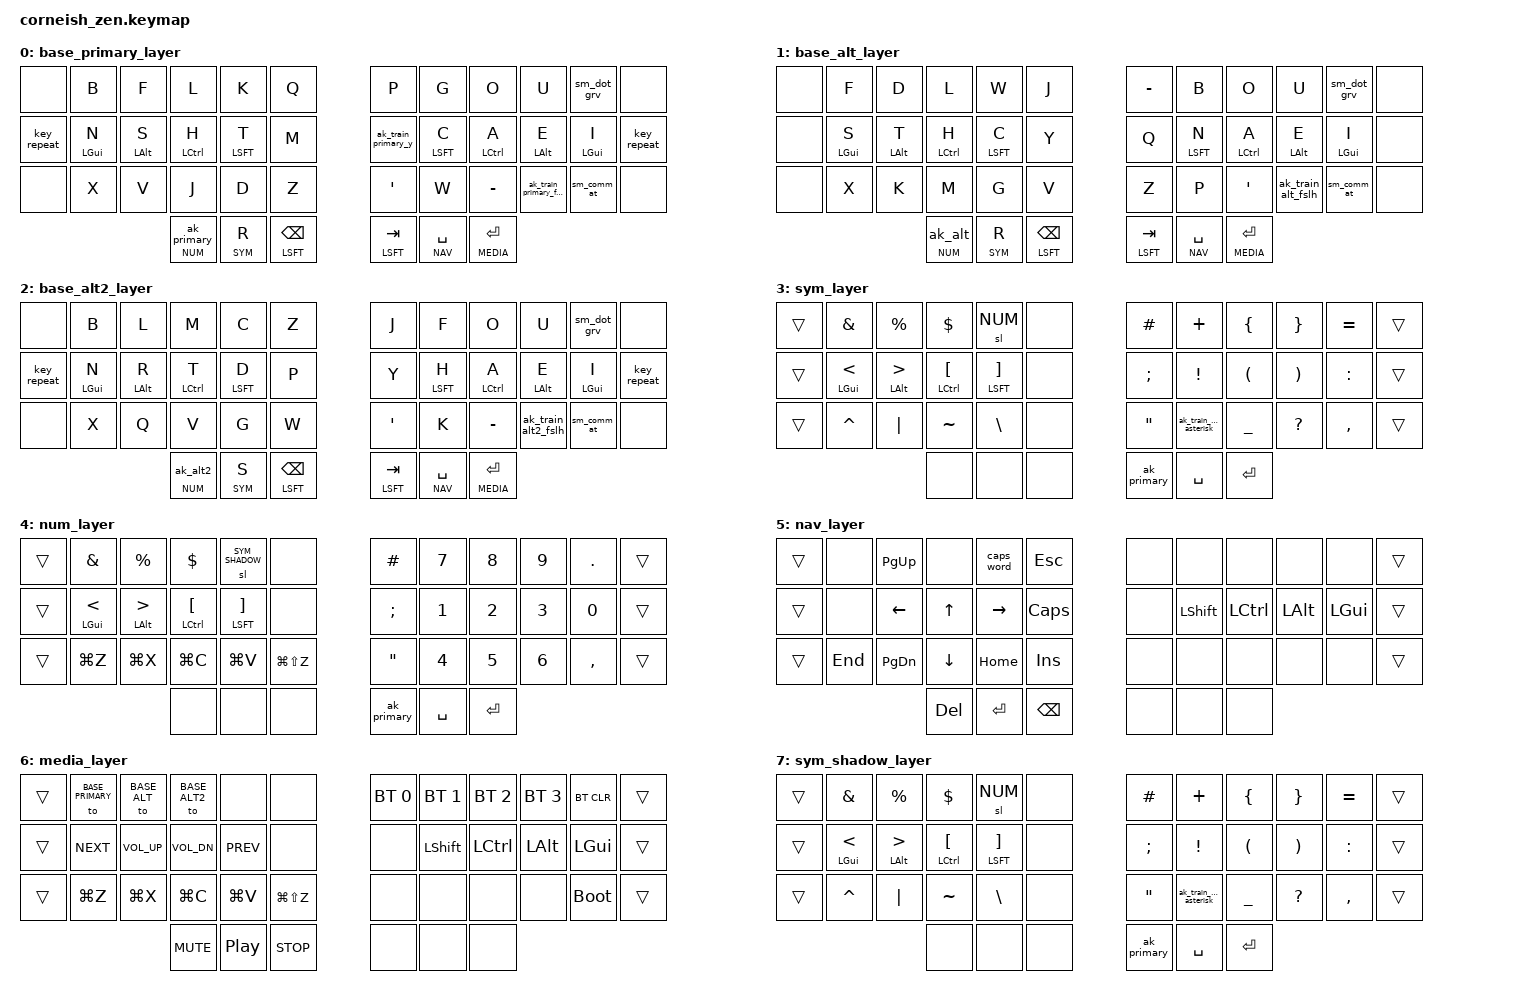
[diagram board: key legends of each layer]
// AUTO-GENERATED - DO NOT EDIT
// Generated from config/keymap.yaml
// Board: Corneish-Zen
// Shield/Board: corneish_zen

#include <behaviors.dtsi>
#include <dt-bindings/zmk/keys.h>
#include <dt-bindings/zmk/bt.h>
#include "dario_behaviors.dtsi"

// Behavior timing overrides (from config/keymap.yaml)
&lt {
    tapping-term-ms = <200>;
    quick-tap-ms = <200>;
    flavor = "balanced";
};

&mt {
    tapping-term-ms = <200>;
    quick-tap-ms = <200>;
    flavor = "hold-preferred";
};

#define BASE_PRIMARY 0
#define BASE_ALT 1
#define BASE_ALT2 2
#define SYM 3
#define NUM 4
#define NAV 5
#define MEDIA 6
#define SYM_SHADOW 7

/ {

    combos {
        compatible = "zmk,combos";

        combo_dfu_left {
            timeout-ms = <100>;
            key-positions = <1 5 29>;
            bindings = <&bootloader>;
            layers = <0 1 2>;
            require-prior-idle-ms = <150>;
        };

        combo_dfu_right {
            timeout-ms = <100>;
            key-positions = <6 10 30>;
            bindings = <&bootloader>;
            layers = <0 1 2>;
            require-prior-idle-ms = <150>;
        };

        combo_github_url {
            timeout-ms = <100>;
            key-positions = <7 8 9 10>;
            bindings = <&github_url>;
            layers = <0 1 2>;
        };

        combo_ht_to_lm {
            timeout-ms = <20>;
            key-positions = <15 16>;
            bindings = <&ht_to_lm>;
            layers = <0>;
        };

        combo_sth_to_llm {
            timeout-ms = <30>;
            key-positions = <14 15 16>;
            bindings = <&sth_to_llm>;
            layers = <0>;
        };

        combo_cae_to_cyc {
            timeout-ms = <30>;
            key-positions = <19 20 21>;
            bindings = <&cae_to_cyc>;
            layers = <0>;
        };
    };

    macros {
        ht_to_lm: ht_to_lm_macro {
            compatible = "zmk,behavior-macro";
            label = "HT_TO_LM";
            #binding-cells = <0>;
            bindings
                = <&macro_wait_time 10>
                , <&macro_tap_time 10>
                , <&macro_tap &kp L &kp M>
                ;
        };
        sth_to_llm: sth_to_llm_macro {
            compatible = "zmk,behavior-macro";
            label = "STH_TO_LLM";
            #binding-cells = <0>;
            bindings
                = <&macro_wait_time 10>
                , <&macro_tap_time 10>
                , <&macro_tap &kp L &kp L &kp M>
                ;
        };
        cae_to_cyc: cae_to_cyc_macro {
            compatible = "zmk,behavior-macro";
            label = "CAE_TO_CYC";
            #binding-cells = <0>;
            bindings
                = <&macro_wait_time 10>
                , <&macro_tap_time 10>
                , <&macro_tap &kp C &kp Y &kp C>
                ;
        };
        magic_primary_chr_32: magic_primary_chr_32_macro {
            compatible = "zmk,behavior-macro";
            label = "MAGIC_PRIMARY_CHR_32";
            #binding-cells = <0>;
            bindings
                = <&macro_wait_time 10>
                , <&macro_tap_time 10>
                , <&macro_tap &kp T &kp H &kp E>
                ;
        };
        magic_primary_chr_44: magic_primary_chr_44_macro {
            compatible = "zmk,behavior-macro";
            label = "MAGIC_PRIMARY_CHR_44";
            #binding-cells = <0>;
            bindings
                = <&macro_wait_time 10>
                , <&macro_tap_time 10>
                , <&macro_tap &kp SPACE &kp B &kp U &kp T>
                ;
        };
        magic_alt_chr_32: magic_alt_chr_32_macro {
            compatible = "zmk,behavior-macro";
            label = "MAGIC_ALT_CHR_32";
            #binding-cells = <0>;
            bindings
                = <&macro_wait_time 10>
                , <&macro_tap_time 10>
                , <&macro_tap &kp T &kp H &kp E>
                ;
        };
        magic_alt_chr_44: magic_alt_chr_44_macro {
            compatible = "zmk,behavior-macro";
            label = "MAGIC_ALT_CHR_44";
            #binding-cells = <0>;
            bindings
                = <&macro_wait_time 10>
                , <&macro_tap_time 10>
                , <&macro_tap &kp SPACE &kp B &kp U &kp T>
                ;
        };
        magic_alt2_chr_32: magic_alt2_chr_32_macro {
            compatible = "zmk,behavior-macro";
            label = "MAGIC_ALT2_CHR_32";
            #binding-cells = <0>;
            bindings
                = <&macro_wait_time 10>
                , <&macro_tap_time 10>
                , <&macro_tap &kp T &kp H &kp E>
                ;
        };
        magic_alt2_chr_44: magic_alt2_chr_44_macro {
            compatible = "zmk,behavior-macro";
            label = "MAGIC_ALT2_CHR_44";
            #binding-cells = <0>;
            bindings
                = <&macro_wait_time 10>
                , <&macro_tap_time 10>
                , <&macro_tap &kp SPACE &kp B &kp U &kp T>
                ;
        };
    };

    // Board-specific home row mods (hold-trigger positions for 3x6_3)
    behaviors {
        hml: home_row_mod_left {
            compatible = "zmk,behavior-hold-tap";
            label = "HOME_ROW_MOD_LEFT";
            #binding-cells = <2>;
            flavor = "balanced";
            require-prior-idle-ms = <150>;
            tapping-term-ms = <280>;
            quick-tap-ms = <200>;
            bindings = <&kp>, <&kp>;
            hold-trigger-key-positions = <6 7 8 9 10 11 18 19 20 21 22 23 30 31 32 33 34 35 36 37 38 39 40 41>;  // right hand + all thumbs
            hold-trigger-on-release;
        };

        hmr: home_row_mod_right {
            compatible = "zmk,behavior-hold-tap";
            label = "HOME_ROW_MOD_RIGHT";
            #binding-cells = <2>;
            flavor = "balanced";
            require-prior-idle-ms = <150>;
            tapping-term-ms = <280>;
            quick-tap-ms = <200>;
            bindings = <&kp>, <&kp>;
            hold-trigger-key-positions = <0 1 2 3 4 5 12 13 14 15 16 17 24 25 26 27 28 29 36 37 38 39 40 41>;  // left hand + all thumbs
            hold-trigger-on-release;
        };
    };

    // Magic key behaviors (adaptive key)
    // Each base layer has its own adaptive key with layer-specific mappings
    behaviors {
        // Adaptive key for BASE_PRIMARY family
        ak_primary: ak_primary {
            compatible = "zmk,behavior-adaptive-key";
            #binding-cells = <0>;
            bindings = <&key_repeat>;

            space_trigger {
                trigger-keys = <SPACE>;
                bindings = <&magic_primary_chr_32>;
                strict-modifiers;
                max-prior-idle-ms = <1000>;
            };
            comma_trigger {
                trigger-keys = <COMMA>;
                bindings = <&magic_primary_chr_44>;
                strict-modifiers;
                max-prior-idle-ms = <1000>;
            };
            minus_trigger {
                trigger-keys = <MINUS>;
                bindings = <&kp GT>;
                strict-modifiers;
                max-prior-idle-ms = <1000>;
            };
            dot_trigger {
                trigger-keys = <DOT>;
                bindings = <&kp FSLH>;
                strict-modifiers;
                max-prior-idle-ms = <1000>;
            };
            c_trigger {
                trigger-keys = <C>;
                bindings = <&kp Y>;
                max-prior-idle-ms = <1000>;
            };
            g_trigger {
                trigger-keys = <G>;
                bindings = <&kp Y>;
                max-prior-idle-ms = <1000>;
            };
            p_trigger {
                trigger-keys = <P>;
                bindings = <&kp Y>;
                max-prior-idle-ms = <1000>;
            };
            fslh_trigger {
                trigger-keys = <FSLH>;
                bindings = <&kp ASTERISK>;
                strict-modifiers;
                max-prior-idle-ms = <1000>;
            };
            asterisk_trigger {
                trigger-keys = <ASTERISK>;
                bindings = <&kp FSLH>;
                strict-modifiers;
                max-prior-idle-ms = <1000>;
            };
        };

        lt_ak_primary: lt_ak_primary {
            compatible = "zmk,behavior-hold-tap";
            label = "LT_AK_PRIMARY";
            #binding-cells = <2>;
            tapping-term-ms = <200>;
            quick-tap-ms = <200>;
            flavor = "balanced";
            bindings = <&mo>, <&ak_primary>;
        };

        mt_ak_primary: mt_ak_primary {
            compatible = "zmk,behavior-hold-tap";
            label = "MT_AK_PRIMARY";
            #binding-cells = <2>;
            tapping-term-ms = <200>;
            quick-tap-ms = <200>;
            flavor = "hold-preferred";
            bindings = <&kp>, <&ak_primary>;
        };

        // Adaptive key for BASE_ALT family
        ak_alt: ak_alt {
            compatible = "zmk,behavior-adaptive-key";
            #binding-cells = <0>;
            bindings = <&key_repeat>;

            space_trigger {
                trigger-keys = <SPACE>;
                bindings = <&magic_alt_chr_32>;
                strict-modifiers;
            };
            comma_trigger {
                trigger-keys = <COMMA>;
                bindings = <&magic_alt_chr_44>;
                strict-modifiers;
            };
            minus_trigger {
                trigger-keys = <MINUS>;
                bindings = <&kp GT>;
                strict-modifiers;
            };
            dot_trigger {
                trigger-keys = <DOT>;
                bindings = <&kp FSLH>;
                strict-modifiers;
            };
            fslh_trigger {
                trigger-keys = <FSLH>;
                bindings = <&kp ASTERISK>;
                strict-modifiers;
            };
            asterisk_trigger {
                trigger-keys = <ASTERISK>;
                bindings = <&kp FSLH>;
                strict-modifiers;
            };
        };

        lt_ak_alt: lt_ak_alt {
            compatible = "zmk,behavior-hold-tap";
            label = "LT_AK_ALT";
            #binding-cells = <2>;
            tapping-term-ms = <200>;
            quick-tap-ms = <200>;
            flavor = "balanced";
            bindings = <&mo>, <&ak_alt>;
        };

        mt_ak_alt: mt_ak_alt {
            compatible = "zmk,behavior-hold-tap";
            label = "MT_AK_ALT";
            #binding-cells = <2>;
            tapping-term-ms = <200>;
            quick-tap-ms = <200>;
            flavor = "hold-preferred";
            bindings = <&kp>, <&ak_alt>;
        };

        // Adaptive key for BASE_ALT2 family
        ak_alt2: ak_alt2 {
            compatible = "zmk,behavior-adaptive-key";
            #binding-cells = <0>;
            bindings = <&key_repeat>;

            space_trigger {
                trigger-keys = <SPACE>;
                bindings = <&magic_alt2_chr_32>;
                strict-modifiers;
            };
            comma_trigger {
                trigger-keys = <COMMA>;
                bindings = <&magic_alt2_chr_44>;
                strict-modifiers;
            };
            minus_trigger {
                trigger-keys = <MINUS>;
                bindings = <&kp GT>;
                strict-modifiers;
            };
            dot_trigger {
                trigger-keys = <DOT>;
                bindings = <&kp FSLH>;
                strict-modifiers;
            };
            fslh_trigger {
                trigger-keys = <FSLH>;
                bindings = <&kp ASTERISK>;
                strict-modifiers;
            };
            asterisk_trigger {
                trigger-keys = <ASTERISK>;
                bindings = <&kp FSLH>;
                strict-modifiers;
            };
        };

        lt_ak_alt2: lt_ak_alt2 {
            compatible = "zmk,behavior-hold-tap";
            label = "LT_AK_ALT2";
            #binding-cells = <2>;
            tapping-term-ms = <200>;
            quick-tap-ms = <200>;
            flavor = "balanced";
            bindings = <&mo>, <&ak_alt2>;
        };

        mt_ak_alt2: mt_ak_alt2 {
            compatible = "zmk,behavior-hold-tap";
            label = "MT_AK_ALT2";
            #binding-cells = <2>;
            tapping-term-ms = <200>;
            quick-tap-ms = <200>;
            flavor = "hold-preferred";
            bindings = <&kp>, <&ak_alt2>;
        };

    };

    // Magic training behaviors: punish direct bigrams with '#'
    behaviors {
        ak_train_primary_magic_primary_chr_32: ak_train_primary_magic_primary_chr_32 {
            compatible = "zmk,behavior-adaptive-key";
            #binding-cells = <0>;
            bindings = <&magic_primary_chr_32>;
            guard_trigger {
                trigger-keys = <SPACE>;
                bindings = <&kp HASH>;
                max-prior-idle-ms = <1000>;
            };
        };

        ak_train_primary_magic_primary_chr_44: ak_train_primary_magic_primary_chr_44 {
            compatible = "zmk,behavior-adaptive-key";
            #binding-cells = <0>;
            bindings = <&magic_primary_chr_44>;
            guard_trigger {
                trigger-keys = <COMMA>;
                bindings = <&kp HASH>;
                max-prior-idle-ms = <1000>;
            };
        };

        ak_train_primary_gt: ak_train_primary_gt {
            compatible = "zmk,behavior-adaptive-key";
            #binding-cells = <0>;
            bindings = <&kp GT>;
            guard_trigger {
                trigger-keys = <MINUS>;
                bindings = <&kp HASH>;
                max-prior-idle-ms = <1000>;
            };
        };

        ak_train_primary_fslh: ak_train_primary_fslh {
            compatible = "zmk,behavior-adaptive-key";
            #binding-cells = <0>;
            bindings = <&kp FSLH>;
            guard_trigger {
                trigger-keys = <DOT ASTERISK>;
                bindings = <&kp HASH>;
                max-prior-idle-ms = <1000>;
            };
        };

        ak_train_primary_y: ak_train_primary_y {
            compatible = "zmk,behavior-adaptive-key";
            #binding-cells = <0>;
            bindings = <&kp Y>;
            guard_trigger {
                trigger-keys = <C G P>;
                bindings = <&kp HASH>;
                strict-modifiers;  // Disable training for shifted predecessors
                max-prior-idle-ms = <1000>;
            };
        };

        ak_train_primary_asterisk: ak_train_primary_asterisk {
            compatible = "zmk,behavior-adaptive-key";
            #binding-cells = <0>;
            bindings = <&kp ASTERISK>;
            guard_trigger {
                trigger-keys = <FSLH>;
                bindings = <&kp HASH>;
                max-prior-idle-ms = <1000>;
            };
        };

        ak_train_alt_magic_alt_chr_32: ak_train_alt_magic_alt_chr_32 {
            compatible = "zmk,behavior-adaptive-key";
            #binding-cells = <0>;
            bindings = <&magic_alt_chr_32>;
            guard_trigger {
                trigger-keys = <SPACE>;
                bindings = <&kp HASH>;
            };
        };

        ak_train_alt_magic_alt_chr_44: ak_train_alt_magic_alt_chr_44 {
            compatible = "zmk,behavior-adaptive-key";
            #binding-cells = <0>;
            bindings = <&magic_alt_chr_44>;
            guard_trigger {
                trigger-keys = <COMMA>;
                bindings = <&kp HASH>;
            };
        };

        ak_train_alt_gt: ak_train_alt_gt {
            compatible = "zmk,behavior-adaptive-key";
            #binding-cells = <0>;
            bindings = <&kp GT>;
            guard_trigger {
                trigger-keys = <MINUS>;
                bindings = <&kp HASH>;
            };
        };

        ak_train_alt_fslh: ak_train_alt_fslh {
            compatible = "zmk,behavior-adaptive-key";
            #binding-cells = <0>;
            bindings = <&kp FSLH>;
            guard_trigger {
                trigger-keys = <DOT ASTERISK>;
                bindings = <&kp HASH>;
            };
        };

        ak_train_alt_asterisk: ak_train_alt_asterisk {
            compatible = "zmk,behavior-adaptive-key";
            #binding-cells = <0>;
            bindings = <&kp ASTERISK>;
            guard_trigger {
                trigger-keys = <FSLH>;
                bindings = <&kp HASH>;
            };
        };

        ak_train_alt2_magic_alt2_chr_32: ak_train_alt2_magic_alt2_chr_32 {
            compatible = "zmk,behavior-adaptive-key";
            #binding-cells = <0>;
            bindings = <&magic_alt2_chr_32>;
            guard_trigger {
                trigger-keys = <SPACE>;
                bindings = <&kp HASH>;
            };
        };

        ak_train_alt2_magic_alt2_chr_44: ak_train_alt2_magic_alt2_chr_44 {
            compatible = "zmk,behavior-adaptive-key";
            #binding-cells = <0>;
            bindings = <&magic_alt2_chr_44>;
            guard_trigger {
                trigger-keys = <COMMA>;
                bindings = <&kp HASH>;
            };
        };

        ak_train_alt2_gt: ak_train_alt2_gt {
            compatible = "zmk,behavior-adaptive-key";
            #binding-cells = <0>;
            bindings = <&kp GT>;
            guard_trigger {
                trigger-keys = <MINUS>;
                bindings = <&kp HASH>;
            };
        };

        ak_train_alt2_fslh: ak_train_alt2_fslh {
            compatible = "zmk,behavior-adaptive-key";
            #binding-cells = <0>;
            bindings = <&kp FSLH>;
            guard_trigger {
                trigger-keys = <DOT ASTERISK>;
                bindings = <&kp HASH>;
            };
        };

        ak_train_alt2_asterisk: ak_train_alt2_asterisk {
            compatible = "zmk,behavior-adaptive-key";
            #binding-cells = <0>;
            bindings = <&kp ASTERISK>;
            guard_trigger {
                trigger-keys = <FSLH>;
                bindings = <&kp HASH>;
            };
        };

    };

    // Shift-morph behaviors (mod-morph)
    // These output a different key when shift is held
    behaviors {
        sm_dot_grv: sm_dot_grv {
            compatible = "zmk,behavior-mod-morph";
            #binding-cells = <0>;
            bindings = <&kp DOT>, <&kp GRAVE>;
            mods = <(MOD_LSFT|MOD_RSFT)>;
        };

        sm_comm_at: sm_comm_at {
            compatible = "zmk,behavior-mod-morph";
            #binding-cells = <0>;
            bindings = <&kp COMMA>, <&kp AT>;
            mods = <(MOD_LSFT|MOD_RSFT)>;
        };

    };
    keymap {
        compatible = "zmk,keymap";

        base_primary_layer {
            bindings = <
                &none &kp B &kp F &kp L &kp K &kp Q &kp P &kp G &kp O &kp U &sm_dot_grv &none
                &key_repeat &hml LGUI N &hml LALT S &hml LCTL H &hml LSFT T &kp M &ak_train_primary_y &hmr LSFT C &hmr LCTL A &hmr LALT E &hmr LGUI I &key_repeat
                &none &kp X &kp V &kp J &kp D &kp Z &kp SQT &kp W &kp MINUS &ak_train_primary_fslh &sm_comm_at &none
                &lt_ak_primary NUM 0 &lt SYM R &mt LSFT BSPC &mt LSFT TAB &lt NAV SPACE &lt MEDIA ENTER
            >;
        };

        base_alt_layer {
            bindings = <
                &none &kp F &kp D &kp L &kp W &kp J &kp MINUS &kp B &kp O &kp U &sm_dot_grv &none
                &none &hml LGUI S &hml LALT T &hml LCTL H &hml LSFT C &kp Y &kp Q &hmr LSFT N &hmr LCTL A &hmr LALT E &hmr LGUI I &none
                &none &kp X &kp K &kp M &kp G &kp V &kp Z &kp P &kp SQT &ak_train_alt_fslh &sm_comm_at &none
                &lt_ak_alt NUM 0 &lt SYM R &mt LSFT BSPC &mt LSFT TAB &lt NAV SPACE &lt MEDIA ENTER
            >;
        };

        base_alt2_layer {
            bindings = <
                &none &kp B &kp L &kp M &kp C &kp Z &kp J &kp F &kp O &kp U &sm_dot_grv &none
                &key_repeat &hml LGUI N &hml LALT R &hml LCTL T &hml LSFT D &kp P &kp Y &hmr LSFT H &hmr LCTL A &hmr LALT E &hmr LGUI I &key_repeat
                &none &kp X &kp Q &kp V &kp G &kp W &kp SQT &kp K &kp MINUS &ak_train_alt2_fslh &sm_comm_at &none
                &lt_ak_alt2 NUM 0 &lt SYM S &mt LSFT BSPC &mt LSFT TAB &lt NAV SPACE &lt MEDIA ENTER
            >;
        };

        sym_layer {
            bindings = <
                &trans &kp AMPERSAND &kp PERCENT &kp DOLLAR &sl NUM &none &kp HASH &kp PLUS &kp LBRC &kp RBRC &kp EQUAL &trans
                &trans &hml LGUI LT &hml LALT GT &hml LCTL LBKT &hml LSFT RBKT &none &kp SEMI &kp EXCL &kp LPAR &kp RPAR &kp COLON &trans
                &trans &kp CARET &kp PIPE &kp TILDE &kp BSLH &none &kp DQT &ak_train_primary_asterisk &kp UNDERSCORE &kp QUESTION &kp COMMA &trans
                &none &none &none &ak_primary &kp SPACE &kp ENTER
            >;
        };

        num_layer {
            bindings = <
                &trans &kp AMPERSAND &kp PERCENT &kp DOLLAR &sl SYM_SHADOW &none &kp HASH &kp N7 &kp N8 &kp N9 &kp DOT &trans
                &trans &hml LGUI LT &hml LALT GT &hml LCTL LBKT &hml LSFT RBKT &none &kp SEMI &kp N1 &kp N2 &kp N3 &kp N0 &trans
                &trans &kp LG(Z) &kp LG(X) &kp LG(C) &kp LG(V) &kp LG(LS(Z)) &kp DQT &kp N4 &kp N5 &kp N6 &kp COMMA &trans
                &none &none &none &ak_primary &kp SPACE &kp ENTER
            >;
        };

        nav_layer {
            bindings = <
                &trans &none &kp PG_UP &none &caps_word &kp ESC &none &none &none &none &none &trans
                &trans &none &kp LEFT &kp UP &kp RIGHT &kp CAPS &none &kp LSHFT &kp LCTRL &kp LALT &kp LGUI &trans
                &trans &kp END &kp PG_DN &kp DOWN &kp HOME &kp INS &none &none &none &none &none &trans
                &kp DEL &kp ENTER &kp BSPC &none &none &none
            >;
        };

        media_layer {
            bindings = <
                &trans &to BASE_PRIMARY &to BASE_ALT &to BASE_ALT2 &none &none &bt BT_SEL 0 &bt BT_SEL 1 &bt BT_SEL 2 &bt BT_SEL 3 &bt BT_CLR &trans
                &trans &kp C_NEXT &kp C_VOL_UP &kp C_VOL_DN &kp C_PREV &none &none &kp LSHFT &kp LCTRL &kp LALT &kp LGUI &trans
                &trans &kp LG(Z) &kp LG(X) &kp LG(C) &kp LG(V) &kp LG(LS(Z)) &none &none &none &none &bootloader &trans
                &kp C_MUTE &kp C_PLAY_PAUSE &kp C_STOP &none &none &none
            >;
        };

        sym_shadow_layer {
            bindings = <
                &trans &kp AMPERSAND &kp PERCENT &kp DOLLAR &sl NUM &none &kp HASH &kp PLUS &kp LBRC &kp RBRC &kp EQUAL &trans
                &trans &hml LGUI LT &hml LALT GT &hml LCTL LBKT &hml LSFT RBKT &none &kp SEMI &kp EXCL &kp LPAR &kp RPAR &kp COLON &trans
                &trans &kp CARET &kp PIPE &kp TILDE &kp BSLH &none &kp DQT &ak_train_primary_asterisk &kp UNDERSCORE &kp QUESTION &kp COMMA &trans
                &none &none &none &ak_primary &kp SPACE &kp ENTER
            >;
        };
    };
};
